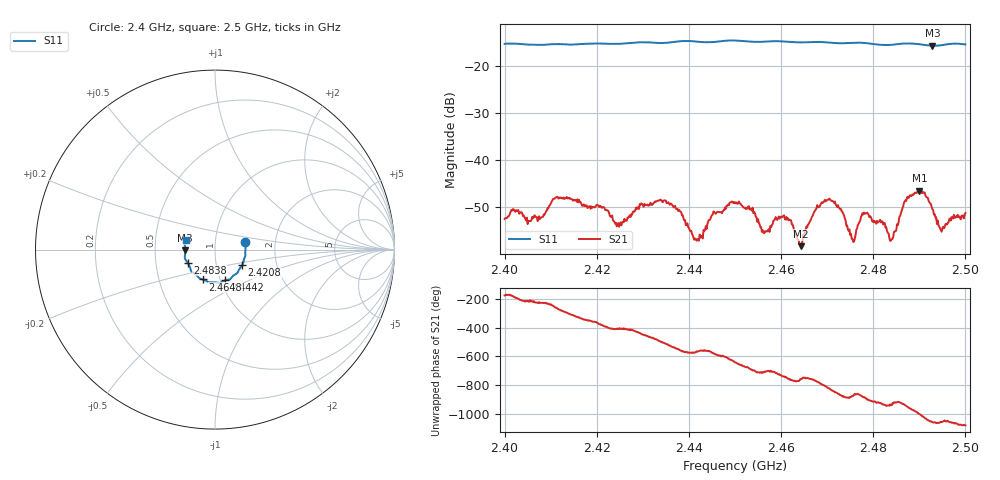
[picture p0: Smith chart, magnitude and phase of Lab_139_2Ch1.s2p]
# Hz S RI R 50
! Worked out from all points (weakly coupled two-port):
!   601 points, 2.4 GHz to 2.5 GHz, reference 50 ohm
!   highest |S21| = -46.41 dB at 2.49 GHz (marker M1); lowest = -58.2 dB at 2.4643 GHz (marker M2)
!   lowest |S11| = -15.6 dB at 2.4928 GHz (marker M3), VSWR 1.40, Z = 35.8 - j0.359 ohm
!   |S11| at or under -10 dB: start of sweep to end of sweep
!   S12 and S22 are empty: the file has one direction only
!   S11 on the Smith chart (normalised r, x): 2.4 GHz: 1.40, +0.12; 2.4208 GHz: 1.33, -0.24; 2.4442 GHz: 1.05, -0.37; 2.4648 GHz: 0.83, -0.28; 2.4838 GHz: 0.73, -0.11; 2.5 GHz: 0.72, +0.08
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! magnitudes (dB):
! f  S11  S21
! 2.4 GHz  -15.2  -52.4
! 2.4167 GHz  -15.3  -49.2
! 2.4208 GHz  -15.2  -49.7
! 2.4248 GHz  -15.2  -54.1
! 2.4333 GHz  -15.0  -48.5
! 2.4417 GHz  -14.7  -57.1
! 2.4442 GHz  -14.9  -53.1
! 2.45 GHz  -14.5  -49.1
! 2.4563 GHz  -14.8  -55.5
! 2.4617 GHz  -14.8  -52.7
! 2.4643 GHz  -14.9  -58.2
! 2.4648 GHz  -14.9  -55.7
! 2.4667 GHz  -14.8  -52.1
! 2.4707 GHz  -15.0  -48.3
! 2.4755 GHz  -15.0  -56.7
! 2.4782 GHz  -15.0  -51.3
! 2.4833 GHz  -15.5  -55.6
! 2.4838 GHz  -15.4  -57.1
! 2.49 GHz  -15.3  -46.4
! 2.4928 GHz  -15.6  -50.4
! 2.4948 GHz  -15.5  -55.2
! 2.5 GHz  -15.3  -51.2
